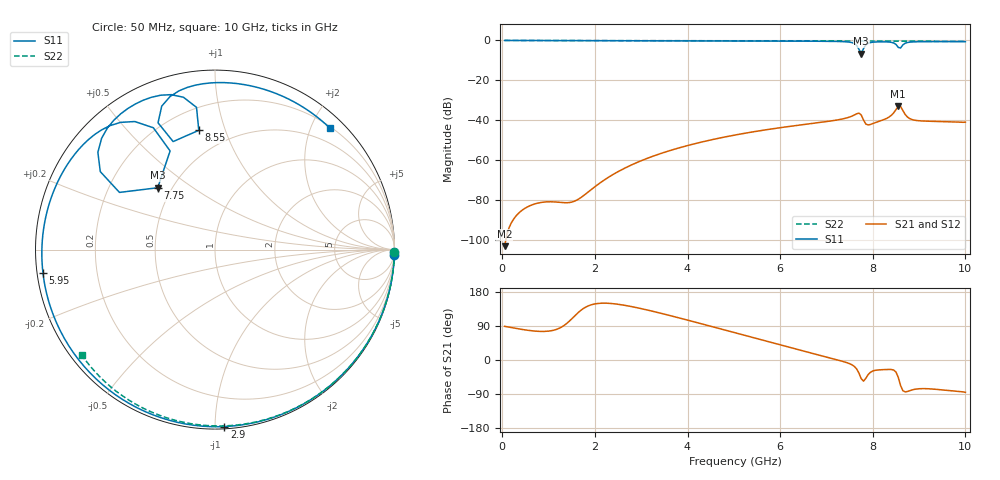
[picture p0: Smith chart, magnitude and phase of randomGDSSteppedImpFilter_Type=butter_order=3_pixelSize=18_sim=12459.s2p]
! freq	dB(S11)	phase(S11)	dB(S12)	phase(S12)
!  dB(S21)	phase(S21)	dB(S22)	phase(S22)
!S-par simulation data
#  GHz  S  DB  R 50
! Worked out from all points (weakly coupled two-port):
!   200 points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, 50 MHz to 10 GHz, reference 50 ohm
!   highest |S21| = -33.10 dB at 8.55 GHz (marker M1); lowest = -103.3 dB at 50 MHz (marker M2)
!   lowest |S11| = -6.6 dB at 7.75 GHz (marker M3), VSWR 2.77, Z = 21 + j18.5 ohm
!   |S11| at or under -10 dB: nowhere
!   |S22| runs from -0.5 to 0.0 dB; largest |S21 - S12| = 0
!   S11 on the Smith chart (normalised r, x): 50 MHz: 0, -73; 2.9 GHz: 0.01, -1.05; 5.95 GHz: 0.02, -0.07; 7.75 GHz: 0.42, +0.37; 8.55 GHz: 0.34, +0.82; 10 GHz: 0.23, +2.31
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0.05  -0.00 -1.6  -103.34 88.9  -103.34 88.9  -0.00 -0.8
1.6  -0.06 -49.2  -80.30 120.7  -80.30 120.7  -0.03 -25.9
1.75  -0.07 -53.7  -78.03 135.8  -78.03 135.8  -0.04 -28.3
2.9  -0.11 -87.0  -61.38 138.2  -61.38 138.2  -0.06 -46.2
3.4  -0.13 -101.0  -56.96 124.1  -56.96 124.1  -0.07 -53.8
5.05  -0.22 -146.5  -47.40 71.1  -47.40 71.1  -0.12 -77.7
5.95  -0.29 -172.3  -43.99 41.5  -43.99 41.5  -0.16 -90.0
6.7  -0.37 164.1  -41.67 17.3  -41.67 17.3  -0.19 -100.0
7.3  -0.55 141.3  -39.65 -1.9  -39.65 -1.9  -0.23 -107.8
7.6  -1.50 122.0  -37.47 -16.8  -37.47 -16.8  -0.25 -111.6
7.7  -4.38 114.5  -36.50 -34.3  -36.50 -34.3  -0.26 -112.9
7.75  -6.57 132.8  -37.39 -49.2  -37.39 -49.2  -0.26 -113.6
7.8  -4.15 149.1  -39.96 -55.8  -39.96 -55.8  -0.26 -114.2
7.9  -1.43 140.3  -42.46 -38.6  -42.46 -38.6  -0.27 -115.5
8.35  -0.80 109.4  -38.49 -24.9  -38.49 -24.9  -0.31 -121.1
8.45  -1.24 101.7  -36.41 -26.5  -36.41 -26.5  -0.32 -122.4
8.55  -3.47 97.7  -33.10 -45.4  -33.10 -45.4  -0.33 -123.6
8.6  -3.80 111.2  -33.19 -67.3  -33.19 -67.3  -0.33 -124.2
8.7  -1.38 110.4  -37.19 -84.2  -37.19 -84.2  -0.34 -125.5
8.85  -0.75 99.7  -39.75 -78.9  -39.75 -78.9  -0.35 -127.4
9.2  -0.60 82.0  -40.57 -75.9  -40.57 -75.9  -0.39 -131.7
10  -0.62 46.4  -41.03 -85.3  -41.03 -85.3  -0.48 -141.7
